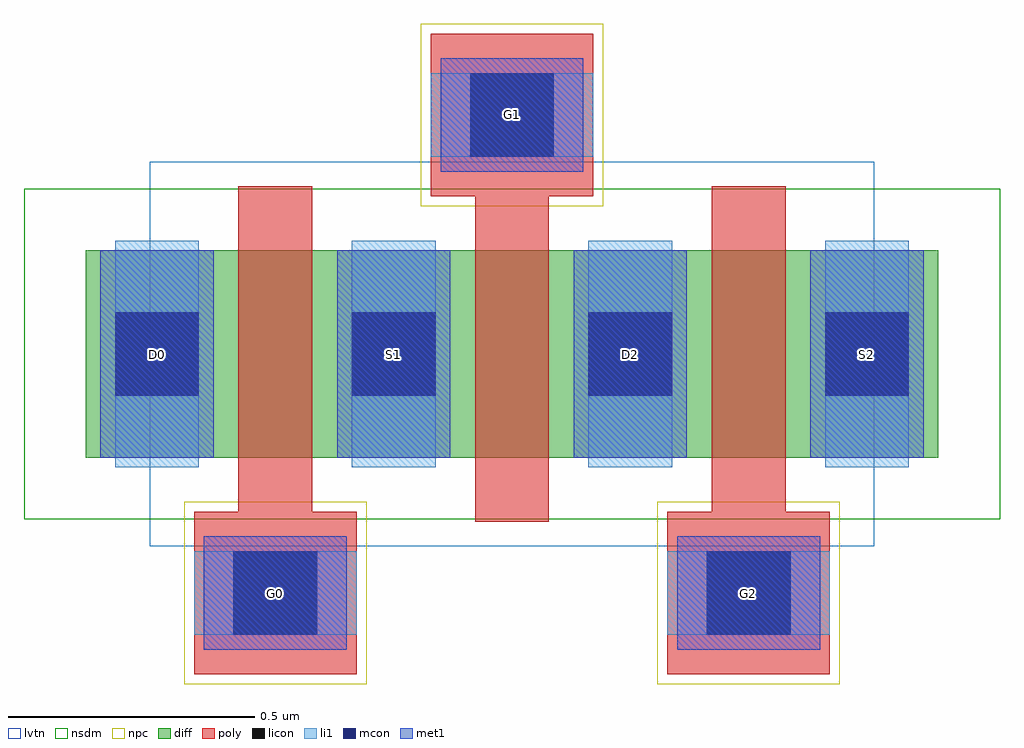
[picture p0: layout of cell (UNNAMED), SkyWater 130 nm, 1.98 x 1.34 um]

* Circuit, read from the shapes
.subckt (UNNAMED) D0 D2 G0 G1 G2 S1 S2
XM1 S1 G0 D0 VSUBS sky130_fd_pr__nfet_01v8_lvt w=0.42 l=0.15
XM2 D2 G1 S1 VSUBS sky130_fd_pr__nfet_01v8_lvt w=0.42 l=0.15
XM3 S2 G2 D2 VSUBS sky130_fd_pr__nfet_01v8_lvt w=0.42 l=0.15
.ends

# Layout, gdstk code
import gdstk
lib = gdstk.Library(unit=1e-6, precision=1e-09)
def R(c, l, rs):  # rectangles x0, y0, x1, y1
    for r in rs: c.add(gdstk.rectangle(r[:2], r[2:], *l))
def A(c, l, x, y, w, h, nx, ny, dx, dy):  # array of equal rectangles
    R(c, l, [(x+i*dx, y+j*dy, x+i*dx+w, y+j*dy+h) for i in range(nx) for j in range(ny)])
diff = (65, 20)
poly = (66, 20)
licon = (66, 44)
li1 = (67, 20)
mcon = (67, 44)
met1 = (68, 20)
nsdm = (93, 44)
npc = (95, 20)
lvtn = (125, 44)

c__unnamed_ = lib.new_cell('(UNNAMED)')
R(c__unnamed_, diff, [(-0.865,-0.21,0.865,0.21)])
R(c__unnamed_, poly, [(-0.645,-0.65,-0.315,-0.32), (0.315,-0.65,0.645,-0.32), (-0.075,-0.34,0.075,0.32), (-0.555,-0.32,-0.405,0.34), (0.405,-0.32,0.555,0.34), (-0.165,0.32,0.165,0.65)])
A(c__unnamed_, licon, -0.805, -0.085, 0.17, 0.17, 4, 1, 0.48, 0)
R(c__unnamed_, licon, [(-0.565,-0.57,-0.395,-0.4), (0.395,-0.57,0.565,-0.4), (-0.085,0.4,0.085,0.57)])
A(c__unnamed_, li1, -0.805, -0.23, 0.17, 0.46, 4, 1, 0.48, 0)
R(c__unnamed_, li1, [(-0.645,-0.57,-0.315,-0.4), (0.315,-0.57,0.645,-0.4), (-0.165,0.4,0.165,0.57)])
A(c__unnamed_, mcon, -0.805, -0.085, 0.17, 0.17, 4, 1, 0.48, 0)
R(c__unnamed_, mcon, [(-0.565,-0.57,-0.395,-0.4), (0.395,-0.57,0.565,-0.4), (-0.085,0.4,0.085,0.57)])
A(c__unnamed_, met1, -0.835, -0.21, 0.23, 0.42, 4, 1, 0.48, 0)
R(c__unnamed_, met1, [(-0.625,-0.6,-0.335,-0.37), (0.335,-0.6,0.625,-0.37), (-0.145,0.37,0.145,0.6)])
R(c__unnamed_, nsdm, [(-0.99,-0.335,0.99,0.335)])
R(c__unnamed_, npc, [(-0.665,-0.67,-0.295,-0.3), (0.295,-0.67,0.665,-0.3), (-0.185,0.3,0.185,0.67)])
R(c__unnamed_, lvtn, [(-0.735,-0.39,0.735,0.39)])
c__unnamed_.add(gdstk.Label('D0', (-0.72,0), layer=67, texttype=5))
c__unnamed_.add(gdstk.Label('G0', (-0.48,-0.485), layer=67, texttype=5))
c__unnamed_.add(gdstk.Label('S1', (-0.24,0), layer=67, texttype=5))
c__unnamed_.add(gdstk.Label('G1', (0,0.485), layer=67, texttype=5))
c__unnamed_.add(gdstk.Label('D2', (0.24,0), layer=67, texttype=5))
c__unnamed_.add(gdstk.Label('S2', (0.72,0), layer=67, texttype=5))
c__unnamed_.add(gdstk.Label('G2', (0.48,-0.485), layer=67, texttype=5))

lib.write_gds('_UNNAMED_.gds')
